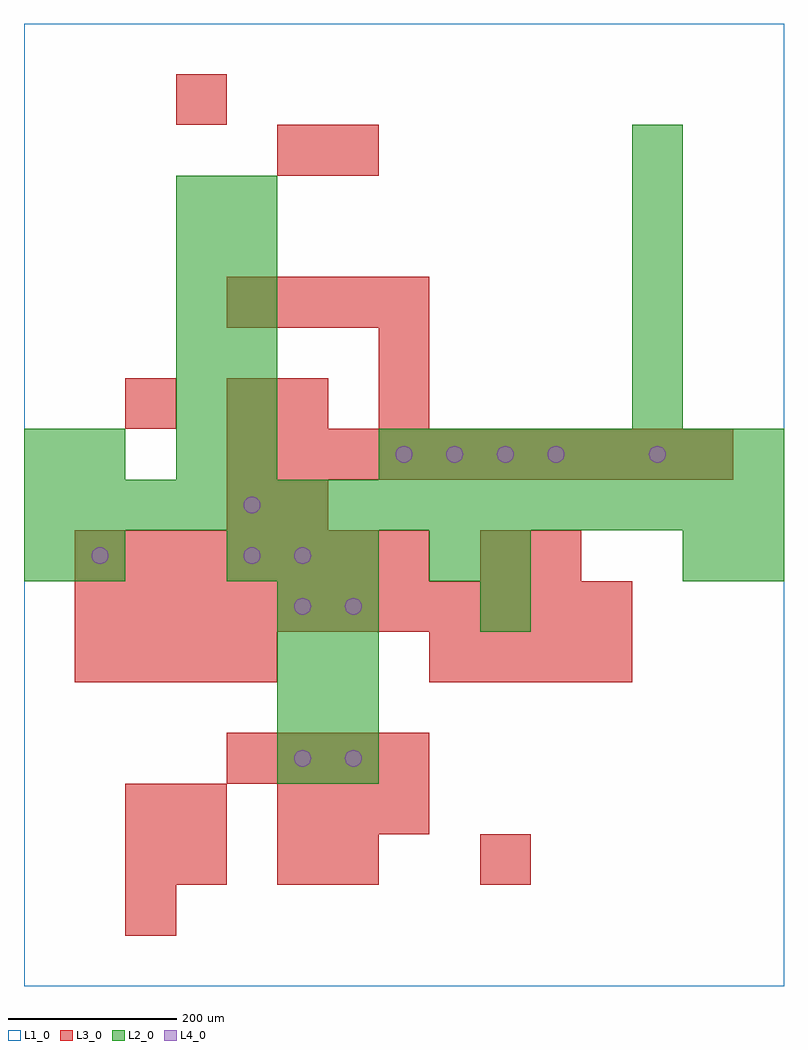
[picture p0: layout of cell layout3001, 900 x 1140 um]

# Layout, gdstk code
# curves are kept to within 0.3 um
import gdstk
lib = gdstk.Library(unit=1e-6, precision=1e-09)
def R(c, l, rs):  # rectangles x0, y0, x1, y1
    for r in rs: c.add(gdstk.rectangle(r[:2], r[2:], *l))
def A(c, l, x, y, w, h, nx, ny, dx, dy):  # array of equal rectangles
    R(c, l, [(x+i*dx, y+j*dy, x+i*dx+w, y+j*dy+h) for i in range(nx) for j in range(ny)])
def P(c, l, *ps):  # polygons
    for p in ps: c.add(gdstk.Polygon(p, *l))
L1_0 = (1, 0)
L2_0 = (2, 0)
L3_0 = (3, 0)
L4_0 = (4, 0)

layout3001 = lib.new_cell('layout3001')
R(layout3001, L1_0, [(0,0,900,1140)])
A(layout3001, L2_0, 300, 240, 60, 60, 1, 4, 0, 60)
A(layout3001, L2_0, 360, 240, 60, 60, 1, 4, 0, 60)
A(layout3001, L2_0, 240, 480, 60, 60, 3, 1, 60, 0)
A(layout3001, L2_0, 0, 540, 60, 60, 15, 1, 60, 0)
A(layout3001, L2_0, 180, 600, 60, 60, 1, 6, 0, 60)
A(layout3001, L2_0, 240, 600, 60, 60, 1, 6, 0, 60)
A(layout3001, L2_0, 420, 600, 60, 60, 8, 1, 60, 0)
A(layout3001, L2_0, 720, 660, 60, 60, 1, 6, 0, 60)
R(layout3001, L2_0, [(540,420,600,480), (0,480,60,540), (60,480,120,540), (480,480,540,540), (540,480,600,540), (780,480,840,540), (840,480,900,540), (0,600,60,660), (60,600,120,660)])
A(layout3001, L3_0, 120, 60, 60, 60, 1, 3, 0, 60)
A(layout3001, L3_0, 300, 180, 60, 60, 3, 1, 60, 0)
A(layout3001, L3_0, 240, 240, 60, 60, 4, 2, 60, 540)
A(layout3001, L3_0, 60, 360, 60, 60, 4, 1, 60, 0)
A(layout3001, L3_0, 480, 360, 60, 60, 4, 1, 60, 0)
A(layout3001, L3_0, 60, 420, 60, 60, 11, 1, 60, 0)
A(layout3001, L3_0, 60, 480, 60, 60, 7, 1, 60, 0)
A(layout3001, L3_0, 240, 600, 60, 60, 10, 1, 60, 0)
R(layout3001, L3_0, [(180,120,240,180), (300,120,360,180), (360,120,420,180), (540,120,600,180), (180,180,240,240), (540,480,600,540), (600,480,660,540), (240,540,300,600), (300,540,360,600), (120,660,180,720), (240,660,300,720), (300,660,360,720), (420,660,480,720), (420,720,480,780), (300,960,360,1020), (360,960,420,1020), (180,1020,240,1080)])
P(layout3001, L4_0, [(100,510),(99.239,513.827),(97.071,517.071),(93.827,519.239),(90,520),(86.173,519.239),(82.929,517.071),(80.761,513.827),(80,510),(80.761,506.173),(82.929,502.929),(86.173,500.761),(90,500),(93.827,500.761),(97.071,502.929),(99.239,506.173)],
  [(280,510),(279.239,513.827),(277.071,517.071),(273.827,519.239),(270,520),(266.173,519.239),(262.929,517.071),(260.761,513.827),(260,510),(260.761,506.173),(262.929,502.929),(266.173,500.761),(270,500),(273.827,500.761),(277.071,502.929),(279.239,506.173)],
  [(280,570),(279.239,573.827),(277.071,577.071),(273.827,579.239),(270,580),(266.173,579.239),(262.929,577.071),(260.761,573.827),(260,570),(260.761,566.173),(262.929,562.929),(266.173,560.761),(270,560),(273.827,560.761),(277.071,562.929),(279.239,566.173)],
  [(340,270),(339.239,273.827),(337.071,277.071),(333.827,279.239),(330,280),(326.173,279.239),(322.929,277.071),(320.761,273.827),(320,270),(320.761,266.173),(322.929,262.929),(326.173,260.761),(330,260),(333.827,260.761),(337.071,262.929),(339.239,266.173)],
  [(340,450),(339.239,453.827),(337.071,457.071),(333.827,459.239),(330,460),(326.173,459.239),(322.929,457.071),(320.761,453.827),(320,450),(320.761,446.173),(322.929,442.929),(326.173,440.761),(330,440),(333.827,440.761),(337.071,442.929),(339.239,446.173)],
  [(340,510),(339.239,513.827),(337.071,517.071),(333.827,519.239),(330,520),(326.173,519.239),(322.929,517.071),(320.761,513.827),(320,510),(320.761,506.173),(322.929,502.929),(326.173,500.761),(330,500),(333.827,500.761),(337.071,502.929),(339.239,506.173)],
  [(400,270),(399.239,273.827),(397.071,277.071),(393.827,279.239),(390,280),(386.173,279.239),(382.929,277.071),(380.761,273.827),(380,270),(380.761,266.173),(382.929,262.929),(386.173,260.761),(390,260),(393.827,260.761),(397.071,262.929),(399.239,266.173)],
  [(400,450),(399.239,453.827),(397.071,457.071),(393.827,459.239),(390,460),(386.173,459.239),(382.929,457.071),(380.761,453.827),(380,450),(380.761,446.173),(382.929,442.929),(386.173,440.761),(390,440),(393.827,440.761),(397.071,442.929),(399.239,446.173)],
  [(460,630),(459.239,633.827),(457.071,637.071),(453.827,639.239),(450,640),(446.173,639.239),(442.929,637.071),(440.761,633.827),(440,630),(440.761,626.173),(442.929,622.929),(446.173,620.761),(450,620),(453.827,620.761),(457.071,622.929),(459.239,626.173)],
  [(520,630),(519.239,633.827),(517.071,637.071),(513.827,639.239),(510,640),(506.173,639.239),(502.929,637.071),(500.761,633.827),(500,630),(500.761,626.173),(502.929,622.929),(506.173,620.761),(510,620),(513.827,620.761),(517.071,622.929),(519.239,626.173)],
  [(580,630),(579.239,633.827),(577.071,637.071),(573.827,639.239),(570,640),(566.173,639.239),(562.929,637.071),(560.761,633.827),(560,630),(560.761,626.173),(562.929,622.929),(566.173,620.761),(570,620),(573.827,620.761),(577.071,622.929),(579.239,626.173)],
  [(640,630),(639.239,633.827),(637.071,637.071),(633.827,639.239),(630,640),(626.173,639.239),(622.929,637.071),(620.761,633.827),(620,630),(620.761,626.173),(622.929,622.929),(626.173,620.761),(630,620),(633.827,620.761),(637.071,622.929),(639.239,626.173)],
  [(760,630),(759.239,633.827),(757.071,637.071),(753.827,639.239),(750,640),(746.173,639.239),(742.929,637.071),(740.761,633.827),(740,630),(740.761,626.173),(742.929,622.929),(746.173,620.761),(750,620),(753.827,620.761),(757.071,622.929),(759.239,626.173)])

lib.write_gds('layout3001.gds')
